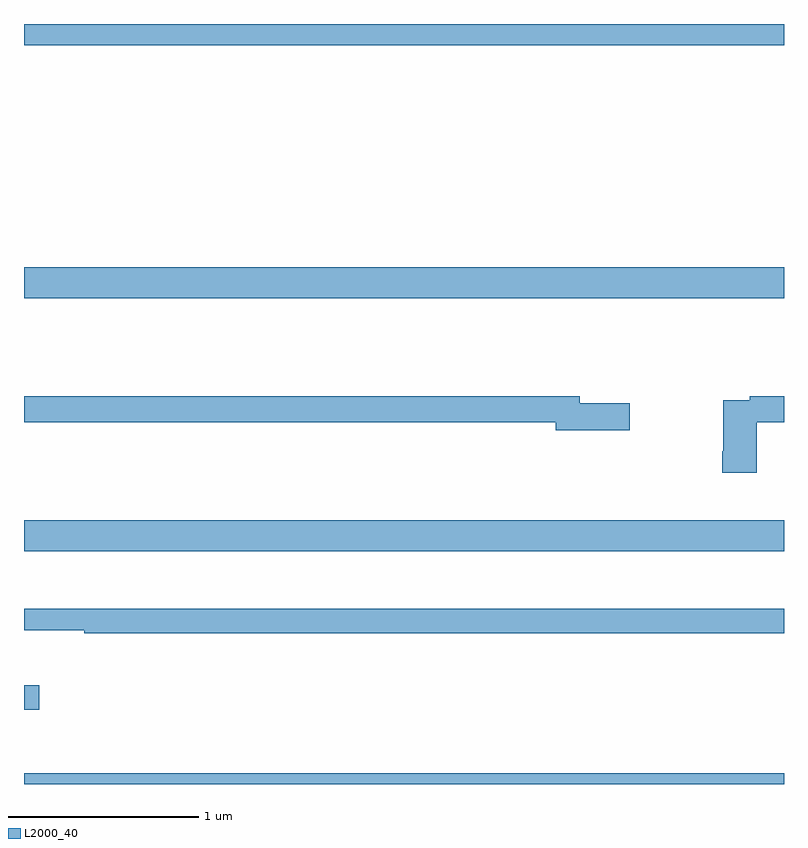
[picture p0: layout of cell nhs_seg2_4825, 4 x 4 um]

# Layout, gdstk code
import gdstk
lib = gdstk.Library(unit=1e-6, precision=1e-09)
def R(c, l, rs):  # rectangles x0, y0, x1, y1
    for r in rs: c.add(gdstk.rectangle(r[:2], r[2:], *l))
def P(c, l, *ps):  # polygons
    for p in ps: c.add(gdstk.Polygon(p, *l))
L2000_40 = (2000, 40)

nhs_seg2_4825 = lib.new_cell('nhs_seg2_4825')
R(nhs_seg2_4825, L2000_40, [(375,591.8,379,591.856), (375,592.192,375.079,592.321), (375,593.024,379,593.188), (375,594.356,379,594.52), (375,595.688,379,595.8)])
P(nhs_seg2_4825, L2000_40, [(378.187,593.804),(377.926,593.804),(377.926,593.84),(375,593.84),(375,593.704),(377.798,593.704),(377.798,593.662),(378.187,593.662)],
  [(378.857,593.704),(379,593.704),(379,593.84),(378.82,593.84),(378.82,593.82),(378.679,593.82),(378.679,593.551),(378.674,593.551),(378.674,593.439),(378.857,593.439)],
  [(379,592.723),(375,592.723),(375,592.609),(375.316,592.609),(375.316,592.594),(379,592.594)])

lib.write_gds('nhs_seg2_4825.gds')
